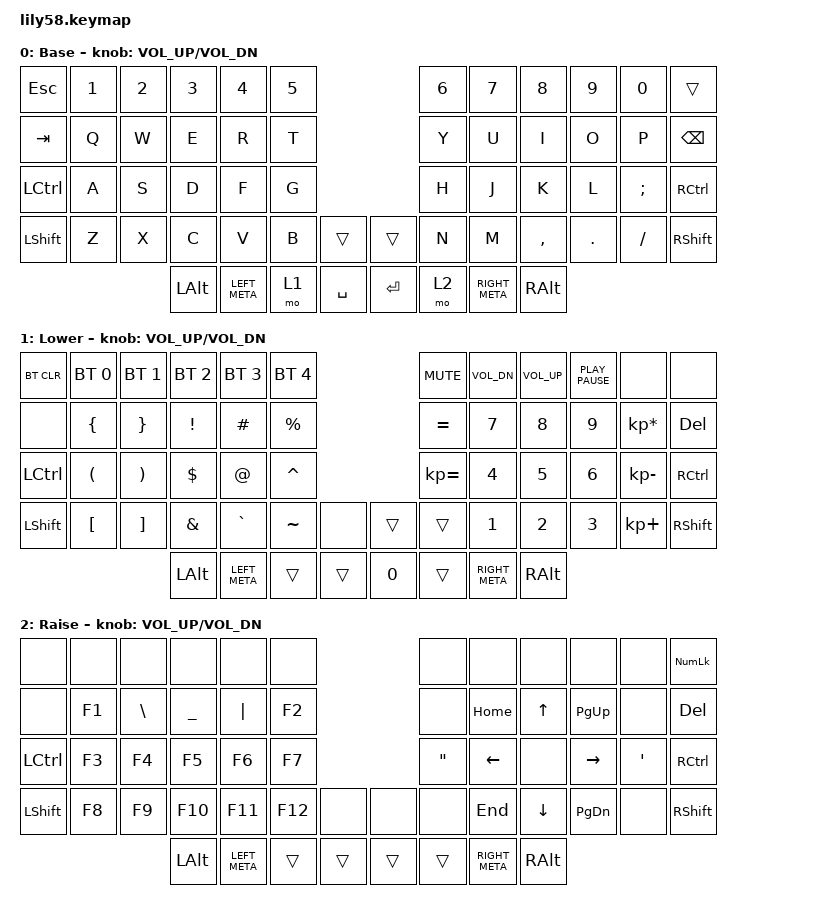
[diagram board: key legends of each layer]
/*
 * Copyright (c) 2020 The ZMK Contributors
 *
 * SPDX-License-Identifier: MIT
 */

#include <behaviors.dtsi>
#include <dt-bindings/zmk/bt.h>
#include <dt-bindings/zmk/keys.h>

/ {
    combos {
        compatible = "zmk,combos";

        BT_Clear {
            bindings = <&bt BT_CLR>;
            key-positions = <55 52 0>;
        };

        BT_Sel_0 {
            bindings = <&bt BT_SEL 0>;
            key-positions = <1 52 55>;
        };

        BT_Sel_1 {
            bindings = <&bt BT_SEL 1>;
            key-positions = <55 52 2>;
        };

        BT_Sel_2 {
            bindings = <&bt BT_SEL 2>;
            key-positions = <52 55 3>;
        };

        BT_Sel_3 {
            bindings = <&bt BT_SEL 3>;
            key-positions = <52 4 55>;
        };

        BT_Sel_4 {
            bindings = <&bt BT_SEL 4>;
            key-positions = <52 55 5>;
        };
    };

    keymap {
        compatible = "zmk,keymap";

        default_layer {
            // ------------------------------------------------------------------------------------------------------------
            // |  ESC  |  1  |  2  |  3   |  4   |  5   |                   |  6   |  7    |  8    |  9   |   0   |   `   |
            // |  TAB  |  Q  |  W  |  E   |  R   |  T   |                   |  Y   |  U    |  I    |  O   |   P   |   -   |
            // |  CTRL |  A  |  S  |  D   |  F   |  G   |                   |  H   |  J    |  K    |  L   |   ;   |   '   |
            // | SHIFT |  Z  |  X  |  C   |  V   |  B   |   "["  |  |  "]"  |  N   |  M    |  ,    |  .   |   /   | SHIFT |
            //                     | ALT  | GUI  | LOWER|  SPACE |  | ENTER | RAISE| BSPC  | GUI   |

            display-name = "Base";
            bindings = <
&kp ESC    &kp N1  &kp N2  &kp N3    &kp N4         &kp N5                        &kp N6  &kp N7          &kp N8         &kp N9   &kp N0    &trans
&kp TAB    &kp Q   &kp W   &kp E     &kp R          &kp T                         &kp Y   &kp U           &kp I          &kp O    &kp P     &kp BACKSPACE
&kp LCTRL  &kp A   &kp S   &kp D     &kp F          &kp G                         &kp H   &kp J           &kp K          &kp L    &kp SEMI  &kp RIGHT_CONTROL
&kp LSHFT  &kp Z   &kp X   &kp C     &kp V          &kp B   &trans       &trans   &kp N   &kp M           &kp COMMA      &kp DOT  &kp FSLH  &kp RSHFT
                           &kp LALT  &kp LEFT_META  &mo 1   &kp SPACE    &kp RET  &mo 2   &kp RIGHT_META  &kp RIGHT_ALT
            >;

            sensor-bindings = <&inc_dec_kp C_VOL_UP C_VOL_DN>;
        };

        lower_layer {
            // ------------------------------------------------------------------------------------------------------------
            // | BTCLR | BT1 | BT2 |  BT3 |  BT4 |  BT5 |                   |      |       |       |      |       |       |
            // |  F1   |  F2 |  F3 |  F4  |  F5  |  F6  |                   |  F7  |  F8   |  F9   |  F10 |  F11  |  F12  |
            // |   `   |  !  |  @  |  #   |  $   |  %   |                   |  ^   |  &    |  *    |  (   |   )   |   ~   |
            // |       |     |     |      |      |      |        |  |       |      |  _    |  +    |  {   |   }   |  "|"  |
            //                     |      |      |      |        |  |       |      |       |       |

            display-name = "Lower";
            bindings = <
&bt BT_CLR      &bt BT_SEL 0          &bt BT_SEL 1           &bt BT_SEL 2   &bt BT_SEL 3   &bt BT_SEL 4                    &kp K_MUTE    &kp C_VOL_DN    &kp C_VOLUME_UP  &kp K_PLAY_PAUSE  &none            &none
&none           &kp LEFT_BRACE        &kp RIGHT_BRACE        &kp EXCL       &kp HASH       &kp PERCENT                     &kp EQUAL     &kp N7          &kp N8           &kp N9            &kp KP_MULTIPLY  &kp DEL
&kp LCTRL       &kp LEFT_PARENTHESIS  &kp RIGHT_PARENTHESIS  &kp DOLLAR     &kp AT_SIGN    &kp CARET                       &kp KP_EQUAL  &kp NUMBER_4    &kp N5           &kp NUMBER_6      &kp KP_SUBTRACT  &kp RCTRL
&kp LEFT_SHIFT  &kp LEFT_BRACKET      &kp RIGHT_BRACKET      &kp AMPERSAND  &kp GRAVE      &kp TILDE     &none     &trans  &trans        &kp NUMBER_1    &kp NUMBER_2     &kp NUMBER_3      &kp KP_PLUS      &kp RIGHT_SHIFT
                                                             &kp LEFT_ALT   &kp LEFT_META  &trans        &trans    &kp N0  &trans        &kp RIGHT_META  &kp RIGHT_ALT
            >;

            sensor-bindings = <&inc_dec_kp C_VOL_UP C_VOL_DN>;
        };

        raise_layer {
            // ------------------------------------------------------------------------------------------------------------
            // |       |     |     |      |      |      |                   |      |       |       |      |       |       |
            // |   `   |  1  |  2  |  3   |  4   |  5   |                   |  6   |   7   |   8   |  9   |   0   |       |
            // |   F1  |  F2 |  F3 |  F4  |  F5  |  F6  |                   |      |   <-  |   v   |  ^   |  ->   |       |
            // |   F7  |  F8 |  F9 |  F10 |  F11 |  F12 |        |  |       |  +   |   -   |   =   |  [   |   ]   |   \   |
            //                     |      |      |      |        |  |       |      |       |       |

            display-name = "Raise";
            bindings = <
&none           &none   &none          &none         &none          &none                      &none              &none           &none          &none          &none     &kp KP_NUMLOCK
&none           &kp F1  &kp BACKSLASH  &kp UNDER     &kp PIPE       &kp F2                     &none              &kp HOME        &kp UP_ARROW   &kp PAGE_UP    &none     &kp DELETE
&kp LCTRL       &kp F3  &kp F4         &kp F5        &kp F6         &kp F7                     &kp DOUBLE_QUOTES  &kp LEFT        &none          &kp RIGHT      &kp APOS  &kp RCTRL
&kp LEFT_SHIFT  &kp F8  &kp F9         &kp F10       &kp F11        &kp F12  &none     &none   &none              &kp END         &kp DOWN       &kp PAGE_DOWN  &none     &kp RIGHT_SHIFT
                                       &kp LEFT_ALT  &kp LEFT_META  &trans   &trans    &trans  &trans             &kp RIGHT_META  &kp RIGHT_ALT
            >;

            sensor-bindings = <&inc_dec_kp C_VOL_UP C_VOL_DN>;
        };
    };
};
